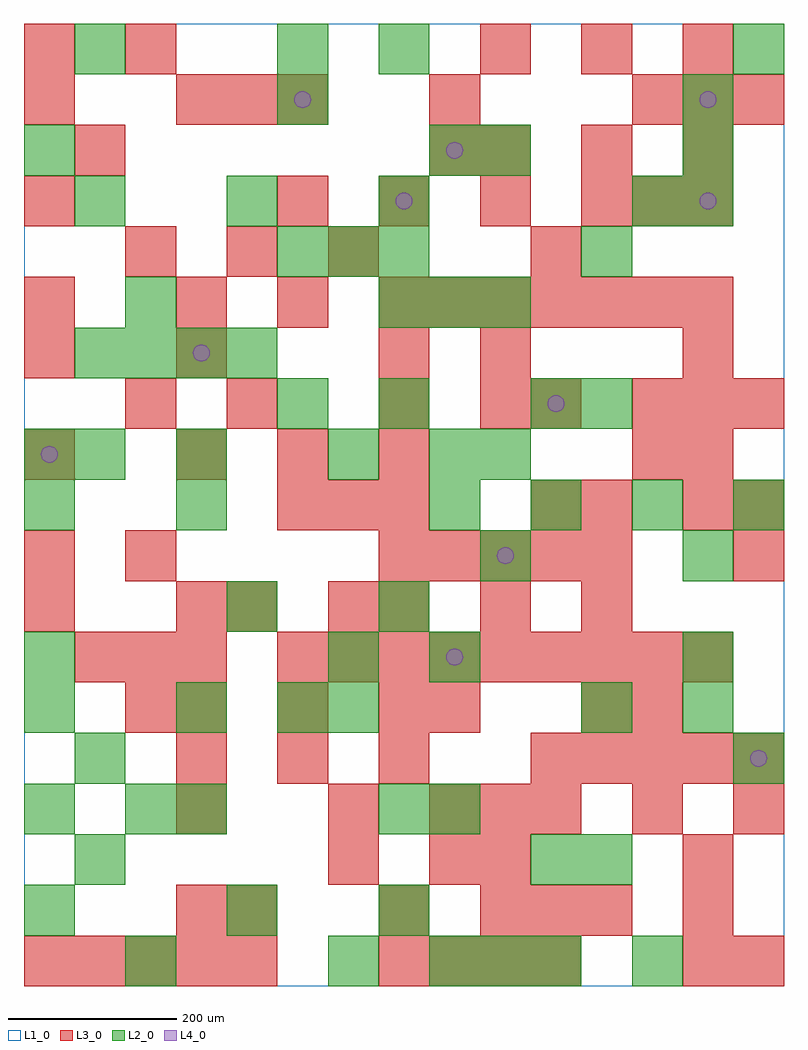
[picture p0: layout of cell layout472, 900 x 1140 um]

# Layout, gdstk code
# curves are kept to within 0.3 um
import gdstk
lib = gdstk.Library(unit=1e-6, precision=1e-09)
def R(c, l, rs):  # rectangles x0, y0, x1, y1
    for r in rs: c.add(gdstk.rectangle(r[:2], r[2:], *l))
def A(c, l, x, y, w, h, nx, ny, dx, dy):  # array of equal rectangles
    R(c, l, [(x+i*dx, y+j*dy, x+i*dx+w, y+j*dy+h) for i in range(nx) for j in range(ny)])
def P(c, l, *ps):  # polygons
    for p in ps: c.add(gdstk.Polygon(p, *l))
L1_0 = (1, 0)
L2_0 = (2, 0)
L3_0 = (3, 0)
L4_0 = (4, 0)

layout472 = lib.new_cell('layout472')
R(layout472, L1_0, [(0,0,900,1140)])
A(layout472, L2_0, 480, 0, 60, 60, 3, 1, 60, 0)
A(layout472, L2_0, 0, 60, 60, 60, 1, 3, 0, 120)
A(layout472, L2_0, 420, 180, 60, 60, 1, 3, 0, 240)
A(layout472, L2_0, 300, 300, 60, 60, 1, 3, 0, 360)
A(layout472, L2_0, 480, 540, 60, 60, 4, 1, 120, 0)
A(layout472, L2_0, 60, 720, 60, 60, 4, 1, 60, 0)
A(layout472, L2_0, 420, 780, 60, 60, 3, 1, 60, 0)
A(layout472, L2_0, 300, 840, 60, 60, 3, 1, 60, 0)
A(layout472, L2_0, 60, 900, 60, 60, 3, 1, 180, 0)
A(layout472, L2_0, 780, 900, 60, 60, 1, 3, 0, 60)
R(layout472, L2_0, [(120,0,180,60), (360,0,420,60), (720,0,780,60), (240,60,300,120), (420,60,480,120), (60,120,120,180), (600,120,660,180), (660,120,720,180), (120,180,180,240), (180,180,240,240), (480,180,540,240), (60,240,120,300), (840,240,900,300), (180,300,240,360), (360,300,420,360), (660,300,720,360), (780,300,840,360), (0,360,60,420), (360,360,420,420), (480,360,540,420), (780,360,840,420), (240,420,300,480), (540,480,600,540), (780,480,840,540), (0,540,60,600), (180,540,240,600), (0,600,60,660), (60,600,120,660), (180,600,240,660), (360,600,420,660), (480,600,540,660), (540,600,600,660), (600,660,660,720), (660,660,720,720), (120,780,180,840), (660,840,720,900), (720,900,780,960), (0,960,60,1020), (480,960,540,1020), (540,960,600,1020), (60,1080,120,1140), (300,1080,360,1140), (420,1080,480,1140), (840,1080,900,1140)])
A(layout472, L3_0, 0, 0, 60, 60, 5, 1, 60, 0)
A(layout472, L3_0, 420, 0, 60, 60, 4, 1, 60, 0)
A(layout472, L3_0, 780, 0, 60, 60, 1, 3, 0, 60)
A(layout472, L3_0, 540, 60, 60, 60, 3, 1, 60, 0)
A(layout472, L3_0, 480, 180, 60, 60, 3, 1, 60, 0)
A(layout472, L3_0, 180, 240, 60, 60, 3, 2, 120, 60)
A(layout472, L3_0, 600, 240, 60, 60, 5, 1, 60, 0)
A(layout472, L3_0, 120, 300, 60, 60, 1, 3, 0, 180)
A(layout472, L3_0, 720, 300, 60, 60, 1, 3, 0, 300)
A(layout472, L3_0, 60, 360, 60, 60, 3, 1, 60, 0)
A(layout472, L3_0, 300, 360, 60, 60, 9, 1, 60, 0)
A(layout472, L3_0, 420, 420, 60, 60, 3, 1, 120, 0)
A(layout472, L3_0, 0, 480, 60, 60, 1, 3, 0, 120)
A(layout472, L3_0, 420, 480, 60, 60, 5, 1, 60, 0)
A(layout472, L3_0, 300, 540, 60, 60, 3, 1, 60, 0)
A(layout472, L3_0, 180, 600, 60, 60, 3, 2, 120, 180)
A(layout472, L3_0, 720, 660, 60, 60, 3, 2, 60, 360)
A(layout472, L3_0, 0, 780, 60, 60, 1, 3, 0, 120)
A(layout472, L3_0, 480, 780, 60, 60, 6, 1, 60, 0)
A(layout472, L3_0, 120, 840, 60, 60, 3, 1, 120, 0)
A(layout472, L3_0, 300, 900, 60, 60, 4, 1, 120, 0)
A(layout472, L3_0, 540, 960, 60, 60, 3, 2, 120, 120)
A(layout472, L3_0, 180, 1020, 60, 60, 3, 1, 60, 0)
R(layout472, L3_0, [(840,0,900,60), (180,60,240,120), (240,60,300,120), (420,60,480,120), (360,120,420,180), (480,120,540,180), (540,120,600,180), (180,180,240,240), (360,180,420,240), (720,180,780,240), (840,180,900,240), (480,300,540,360), (660,300,720,360), (0,420,60,480), (180,420,240,480), (240,420,300,480), (360,420,420,480), (840,480,900,540), (600,540,660,600), (660,540,720,600), (780,540,840,600), (840,540,900,600), (780,600,840,660), (240,660,300,720), (420,660,480,720), (540,660,600,720), (600,660,660,720), (180,720,240,780), (420,720,480,780), (540,720,600,780), (780,720,840,780), (600,840,660,900), (780,900,840,960), (60,960,120,1020), (480,960,540,1020), (480,1020,540,1080), (0,1080,60,1140), (120,1080,180,1140)])
P(layout472, L4_0, [(40,630),(39.239,633.827),(37.071,637.071),(33.827,639.239),(30,640),(26.173,639.239),(22.929,637.071),(20.761,633.827),(20,630),(20.761,626.173),(22.929,622.929),(26.173,620.761),(30,620),(33.827,620.761),(37.071,622.929),(39.239,626.173)],
  [(220,750),(219.239,753.827),(217.071,757.071),(213.827,759.239),(210,760),(206.173,759.239),(202.929,757.071),(200.761,753.827),(200,750),(200.761,746.173),(202.929,742.929),(206.173,740.761),(210,740),(213.827,740.761),(217.071,742.929),(219.239,746.173)],
  [(340,1050),(339.239,1053.827),(337.071,1057.071),(333.827,1059.239),(330,1060),(326.173,1059.239),(322.929,1057.071),(320.761,1053.827),(320,1050),(320.761,1046.173),(322.929,1042.929),(326.173,1040.761),(330,1040),(333.827,1040.761),(337.071,1042.929),(339.239,1046.173)],
  [(460,930),(459.239,933.827),(457.071,937.071),(453.827,939.239),(450,940),(446.173,939.239),(442.929,937.071),(440.761,933.827),(440,930),(440.761,926.173),(442.929,922.929),(446.173,920.761),(450,920),(453.827,920.761),(457.071,922.929),(459.239,926.173)],
  [(520,390),(519.239,393.827),(517.071,397.071),(513.827,399.239),(510,400),(506.173,399.239),(502.929,397.071),(500.761,393.827),(500,390),(500.761,386.173),(502.929,382.929),(506.173,380.761),(510,380),(513.827,380.761),(517.071,382.929),(519.239,386.173)],
  [(520,990),(519.239,993.827),(517.071,997.071),(513.827,999.239),(510,1000),(506.173,999.239),(502.929,997.071),(500.761,993.827),(500,990),(500.761,986.173),(502.929,982.929),(506.173,980.761),(510,980),(513.827,980.761),(517.071,982.929),(519.239,986.173)],
  [(580,510),(579.239,513.827),(577.071,517.071),(573.827,519.239),(570,520),(566.173,519.239),(562.929,517.071),(560.761,513.827),(560,510),(560.761,506.173),(562.929,502.929),(566.173,500.761),(570,500),(573.827,500.761),(577.071,502.929),(579.239,506.173)],
  [(640,690),(639.239,693.827),(637.071,697.071),(633.827,699.239),(630,700),(626.173,699.239),(622.929,697.071),(620.761,693.827),(620,690),(620.761,686.173),(622.929,682.929),(626.173,680.761),(630,680),(633.827,680.761),(637.071,682.929),(639.239,686.173)],
  [(820,930),(819.239,933.827),(817.071,937.071),(813.827,939.239),(810,940),(806.173,939.239),(802.929,937.071),(800.761,933.827),(800,930),(800.761,926.173),(802.929,922.929),(806.173,920.761),(810,920),(813.827,920.761),(817.071,922.929),(819.239,926.173)],
  [(820,1050),(819.239,1053.827),(817.071,1057.071),(813.827,1059.239),(810,1060),(806.173,1059.239),(802.929,1057.071),(800.761,1053.827),(800,1050),(800.761,1046.173),(802.929,1042.929),(806.173,1040.761),(810,1040),(813.827,1040.761),(817.071,1042.929),(819.239,1046.173)],
  [(880,270),(879.239,273.827),(877.071,277.071),(873.827,279.239),(870,280),(866.173,279.239),(862.929,277.071),(860.761,273.827),(860,270),(860.761,266.173),(862.929,262.929),(866.173,260.761),(870,260),(873.827,260.761),(877.071,262.929),(879.239,266.173)])

lib.write_gds('layout472.gds')
